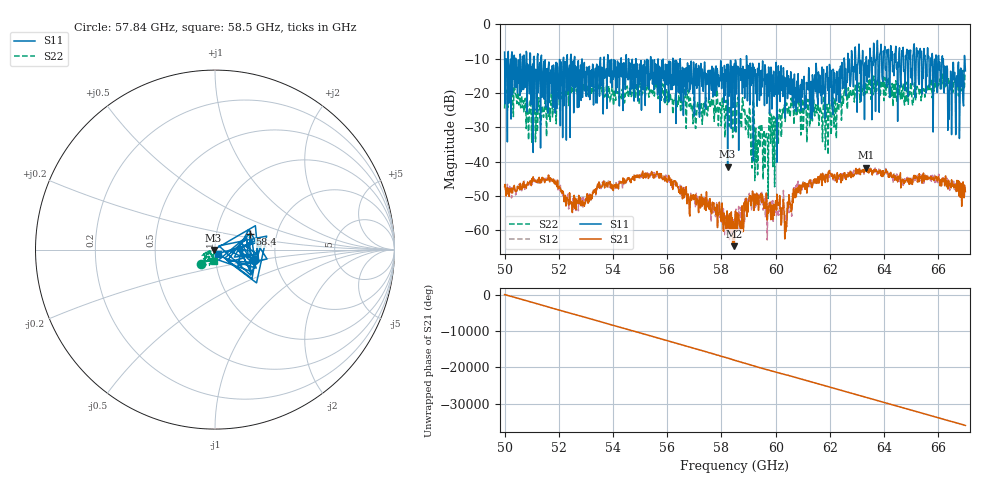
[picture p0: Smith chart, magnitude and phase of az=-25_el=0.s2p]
!Created with skrf (http://scikit-rf.org).
# GHz S RI R 50.0
!freq ReS11 ImS11 ReS21 ImS21 ReS12 ImS12 ReS22 ImS22
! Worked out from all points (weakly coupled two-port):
!   1001 points, 50 GHz to 67 GHz, reference 50 ohm
!   highest |S21| = -41.79 dB at 63.34 GHz (marker M1); lowest = -64.7 dB at 58.47 GHz (marker M2)
!   lowest |S11| = -41.5 dB at 58.23 GHz (marker M3), VSWR 1.02, Z = 49.2 - j0.2 ohm
!   |S11| at or under -10 dB: 52.59 GHz to 53.53 GHz (946.7 MHz wide, 1.78 % of centre); 56.48 GHz to 58.92 GHz (2.446 GHz wide, 4.24 % of centre); 58.93 GHz to 62.53 GHz (3.599 GHz wide, 5.93 % of centre) (the widest 3 of 63)
!   |S22| runs from -50.8 to -13.3 dB; largest |S21 - S12| = 0.0024
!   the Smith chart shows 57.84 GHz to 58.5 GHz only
!   S11 on the Smith chart (normalised r, x): 57.84 GHz: 1.55, -0.19; 58.4 GHz: 1.45, +0.26; 58.5 GHz: 1.03, -0.05
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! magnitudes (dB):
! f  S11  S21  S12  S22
! 50 GHz  -8.1  -47.3  -46.7  -24.5
! 50.15 GHz  -23.0  -48.2  -47.7  -20.9
! 51.07 GHz  -9.5  -45.7  -45.3  -26.2
! 52.84 GHz  -11.2  -52.5  -51.6  -19.8
! 55.68 GHz  -13.6  -43.7  -43.6  -21.5
! 57 GHz  -26.7  -51.0  -50.6  -21.3
! 57.84 GHz  -12.9  -52.6  -54.0  -19.0
! 58.23 GHz  -41.5  -59.4  -60.4  -22.4
! 58.4 GHz  -13.5  -56.4  -60.1  -26.2
! 58.47 GHz  -12.2  -64.7  -58.3  -21.3
! 58.5 GHz  -31.1  -56.6  -56.7  -23.7
! 58.86 GHz  -21.6  -54.3  -57.8  -24.4
! 59.32 GHz  -23.9  -52.4  -50.8  -34.0
! 60.39 GHz  -18.0  -58.4  -56.4  -23.6
! 60.74 GHz  -18.5  -48.0  -47.0  -24.6
! 61.34 GHz  -27.6  -47.7  -46.8  -27.1
! 61.9 GHz  -12.3  -43.9  -45.1  -23.3
! 63.34 GHz  -9.4  -41.8  -42.8  -17.4
! 64.18 GHz  -11.7  -43.9  -43.6  -17.5
! 66.1 GHz  -14.9  -45.3  -45.8  -18.2
! 66.44 GHz  -19.0  -46.7  -47.9  -16.5
! 67 GHz  -13.6  -48.8  -47.5  -14.3
